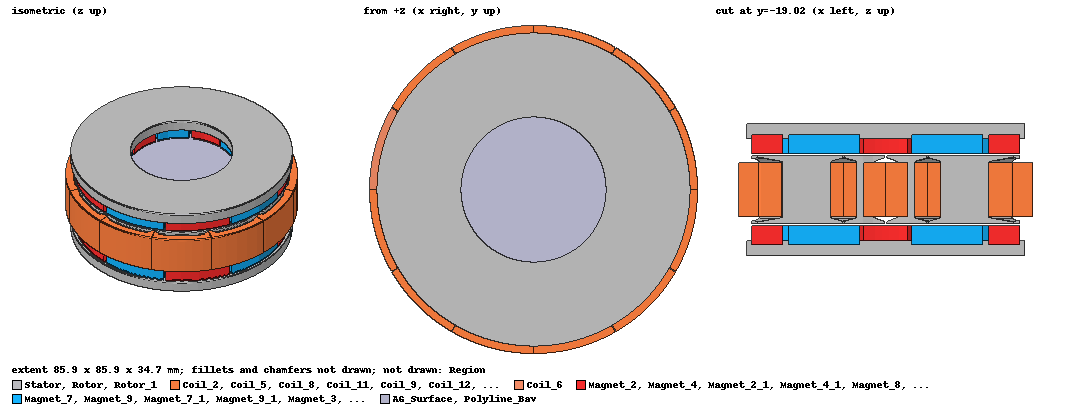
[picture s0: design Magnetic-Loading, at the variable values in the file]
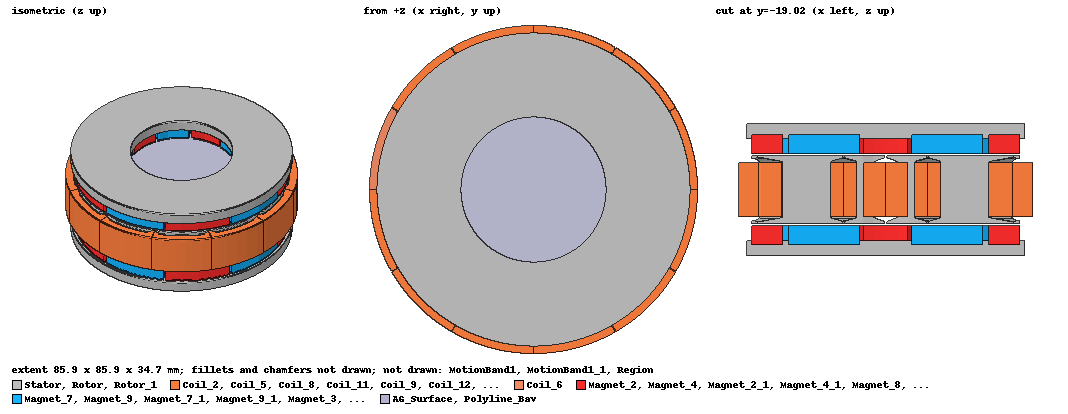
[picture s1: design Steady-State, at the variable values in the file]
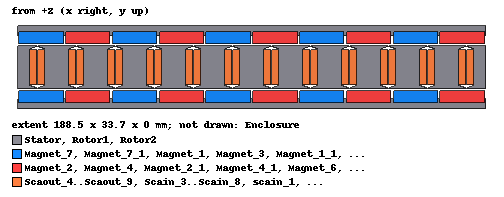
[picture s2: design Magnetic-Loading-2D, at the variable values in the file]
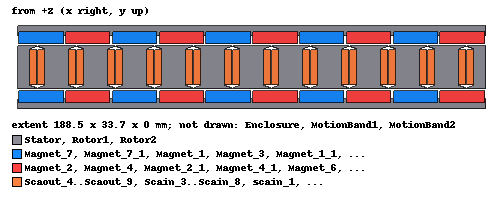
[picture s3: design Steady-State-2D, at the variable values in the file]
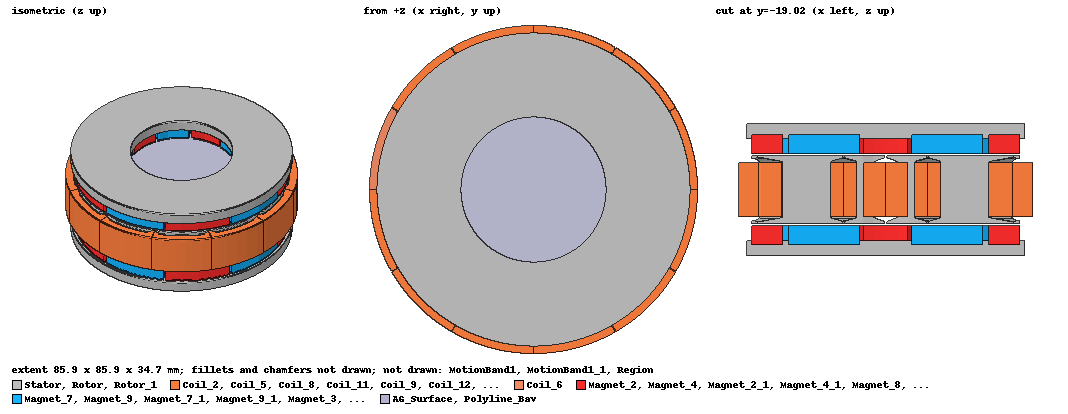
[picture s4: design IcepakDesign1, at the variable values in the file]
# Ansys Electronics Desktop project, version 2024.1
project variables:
  $OSD = 80mm
  $Laxials = 17.7mm
  $ISD = 40mm
  $wss = 6.1mm
  $hs0 = 0.5mm
  $bs0 = 0.5mm
  $tta = 20deg
  $hs1 = $hs0+($wss-$bs0)*tan($tta)/2
  $paperT = 0.13mm
  $bw0 = 0.2mm
  $wc = ($wss-2*$paperT-$bw0)/2
  $Ns = 12
  $alpha_s = 360deg/$Ns
  $dc = $Laxials-2*$hs1-2*$paperT
  $g = 0.5mm
  $p = 10
  $alpha_p = 360deg/$p
  $bm0 = 1mm
  $dm = 5mm
  $t = 1mm
  $ORD = $OSD+2*$t
  $IRD = $ISD-2*$t
  $dm0 = 1mm
  $dry = 3mm
  $PaddingSize = 30
  $Lstk = ($OSD-$ISD)/2
  $D = ($ISD+$OSD)/2
  $L_axial = $Laxials+2*($g+$dm+$dry)
  $Ntc = 250
  $wst = (pi*$D-$ns*$wss)/$ns
  $wm = (pi*$D-$p*$bm0)/$p
  $Iph_rms = 1.04A
  $wireDiameter = 0.4mm
  $wireArea = pi*$wireDiameter^2 /4
  $Nstrands = 1
  $K_fill = $Ntc*$Nstrands*$wireArea/($wc*$dc)
  $dss = $Laxials-2*$hs1
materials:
  vacuum: permittivity=1 thermal_conductivity=0.03
  copper: permeability=0.999991 conductivity=58000000 thermal_conductivity=400 mass_density=8933 specific_heat=385 youngs_modulus=120000000000 poissons_ratio=0.38 thermal_expansion_coefficient=1.77e-05
  SolderMask: permittivity=3.1 dielectric_loss_tangent=0.035 thermal_conductivity=0.26 mass_density=1570 specific_heat=1140 thermal_expansion_coefficient=6e-05
  Hoganas - Somaloy 130-1P: CoordinateSystemType=Cylindrical permeability{HUnit=A_per_meter BUnit=tesla curve (0, 0) (138, 0.04) (244, 0.07) (446, 0.15) (626, 0.22) (1212, 0.45) (1808, 0.62) (2573, 0.8) (3671, 0.98) (5514, 1.16) (8959, 1.34) (15579, 1.53) (29120, 1.73) (49706, 1.88) (74706, 1.98) (99706, 2.05) (124706, 2.11) (149706, 2.16) (189706, 2.23) (229706, 2.3) (279706, 2.38) (304706, 2.42) (383600, 2.5407) (482920, 2.6826) (607960, 2.8533) (765380, 3.0619) (963560, 3.3195) (1213100, 3.6399) (1527200, 4.04) (1922600, 4.5411)} thermal_conductivity=30 thermal_material_type=Solid
  NdFe35: permittivity=1 permeability=1.0997785 conductivity=625000 magnetic_coercivity{Magnitude=-890000A_per_meter DirComp1=1 DirComp2=0 DirComp3=0} thermal_conductivity=9 lande_g_factor=2 mass_density=7400 youngs_modulus=147000000000 thermal_expansion_coefficient{anisotropic component1=3e-06 component2=-5e-06 component3=-5e-06}
  Hoganas - Somaloy 130-1P - 2D: permeability{HUnit=A_per_meter BUnit=tesla curve (0, 0) (138, 0.04) (244, 0.07) (446, 0.15) (626, 0.22) (1212, 0.45) (1808, 0.62) (2573, 0.8) (3671, 0.98) (5514, 1.16) (8959, 1.34) (15579, 1.53) (29120, 1.73) (49706, 1.88) (74706, 1.98) (99706, 2.05) (124706, 2.11) (149706, 2.16) (189706, 2.23) (229706, 2.3) (279706, 2.38) (304706, 2.42) (383600, 2.5407) (482920, 2.6826) (607960, 2.8533) (765380, 3.0619) (963560, 3.3195) (1213100, 3.6399) (1527200, 4.04) (1922600, 4.5411)} thermal_material_type=Solid
  Al-Extruded: thermal_conductivity=205 mass_density=2800 specific_heat=900 youngs_modulus=69000000000 poissons_ratio=0.33 thermal_expansion_coefficient=2.277e-06 thermal_material_type=Solid
  air: permittivity=1.0006 permeability=1.0000004 thermal_conductivity=0.0261 mass_density=1.1614 specific_heat=1005 thermal_expansion_coefficient=0.00333 thermal_material_type=Fluid diffusivity=2.88e-05 molecular_mass=0.028966 viscosity=1.84e-05 material_refractive_index=1.000293
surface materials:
  Steel-oxidised-surface: surface_emissivity=0.8

design Magnetic-Loading (Maxwell 3D, Magnetostatic, model units mm)
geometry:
  Circle1 = circle(normal=Z, centre=(0mm, 0mm, 0mm), radius=$OSD/2+$paperT+$wc)
  Circle2 = circle(normal=Z, centre=(0mm, 0mm, 0mm), radius=$OSD/2+$paperT)
  Circle1.subtract(Circle2)
  Circle3 = circle(normal=Z, centre=(0mm, 0mm, 0mm), radius=$ISD/2-$paperT)
  Circle4 = circle(normal=Z, centre=(0mm, 0mm, 0mm), radius=$ISD/2-$paperT-$wc)
  Circle3.subtract(Circle4)
  Polyline2 = polyline(z=0mm, xy: (0mm, 0mm) ($OSD, 0mm) (79.315589mm, 10.442095mm) (77.274066mm, 20.705524mm) (0mm, 0mm), closed, covered, AngularArc from point 1 over 3 centre=(0mm, 0mm, 0mm) angle=$alpha_s/2 plane=XY)
  Polyline2_1 = Polyline2.duplicate_mirror(point=(0mm, 0mm, 0mm), normal=(0mm, 1mm, 0mm))
  Polyline2_1.mirror(point=(0mm, 0mm, 0mm), normal=(0mm, 1mm, 0mm))
  Polyline2.intersect(Circle1)
  Circle3.intersect(Polyline2_1)
  Coil_1 [copper] = rectangle(corner=(0mm, 0mm, 0mm), x_size=$OSD, y_size=$wc+$bw0/2)
  Circle5 = circle(normal=Z, centre=(0mm, 0mm, 0mm), radius=$ISD/2-$paperT-$wc)
  Circle6 = circle(normal=Z, centre=(0mm, 0mm, 0mm), radius=$OSD/2+$paperT+$wc)
  Coil_1.intersect(Circle6)
  Coil_1.subtract(Circle5)
  Coil_1.unite(Polyline2, Circle3)
  Rectangle2 = rectangle(corner=(0mm, -$bw0/2, 0mm), x_size=$OSD, y_size=$bw0)
  Coil_1.subtract(Rectangle2)
  Coil_1.move(0mm, 0mm, $hs1+$paperT)
  Coil_1.sweep_along_vector((0mm, 0mm, $dc))
  Coil_1.fillet(Edges=Coil_1.edge(#2007, #2006) Radius=$wc/2 Setback=0mm)
  Rectangle1_1 = Coil_1.duplicate_mirror(point=(0mm, 0mm, 0mm), normal=(-sin($alpha_s/2), cos($alpha_s/2), 0mm))
  Coil_1.unite(Rectangle1_1)
  Coil_2..Coil_12 [copper] = Coil_1.duplicate_around_axis(axis=Z, angle=360deg/12, total=12)
  coordinate_system RelativeCS1 = origin=(0mm, 0mm, $Laxials+$g) x=(1mm, 0mm, 0mm) y=(0mm, 1mm, 0mm)
  coordinate_system North_CS = origin=(0mm, 0mm, 0mm) x=(0mm, 0mm, 1mm) y=(0mm, 1mm, 0mm)
  Magnet_1 [NdFe35, oriented by North_CS] = polyline(z=0mm, xy: (0mm, 0mm) ($OSD/2, 0mm) (38.042261mm, 12.36068mm) (32.36068mm, 23.51141mm) (0mm, 0mm), closed, covered, AngularArc from point 1 over 3 centre=(0mm, 0mm, 0mm) angle=$alpha_p plane=XY) in RelativeCS1
  Circle7 = circle(normal=Z, centre=(0mm, 0mm, 0mm), radius=$ISD/2) in RelativeCS1
  Magnet_1.subtract(Circle7)
  Rectangle3 = rectangle(corner=(0mm, -$bm0/2, 0mm), x_size=$OSD, y_size=$bm0) in RelativeCS1
  Rectangle3.duplicate_around_axis(axis=Z, angle=$alpha_p, total=2, attached) in RelativeCS1
  Magnet_1.subtract(Rectangle3)
  Magnet_1.sweep_along_vector((0mm, 0mm, $dm)) in RelativeCS1
  Magnet_2 [NdFe35, oriented by South_CS], Magnet_3 [NdFe35, oriented by North_CS], Magnet_4 [NdFe35, oriented by South_CS], Magnet_5 [NdFe35, oriented by North_CS], Magnet_6 [NdFe35, oriented by South_CS], Magnet_7 [NdFe35, oriented by North_CS], Magnet_8 [NdFe35, oriented by South_CS], Magnet_9 [NdFe35, oriented by North_CS], Magnet_10 [NdFe35, oriented by South_CS] = Magnet_1.duplicate_around_axis(axis=Z, angle=$alpha_p, total=10) in RelativeCS1
  coordinate_system South_CS = origin=(0mm, 0mm, 0mm) x=(0mm, 0mm, -1mm) y=(0mm, 1mm, 0mm)
  Circle8 = circle(normal=Z, centre=(0mm, 0mm, $dm-$dm0), radius=$IRD/2) in RelativeCS1
  Rotor [Hoganas - Somaloy 130-1P] = circle(normal=Z, centre=(0mm, 0mm, $dm-$dm0), radius=$ORD/2) in RelativeCS1
  Rotor.subtract(Circle8)
  Rotor.sweep_along_vector((0mm, 0mm, $dm0+$dry)) in RelativeCS1
  Magnet_1_1 [NdFe35, oriented by North_CS] = Magnet_1.duplicate_mirror(point=(0mm, 0mm, $Laxials/2), normal=(0mm, 0mm, 1mm))
  Magnet_2_1 [NdFe35, oriented by South_CS] = Magnet_2.duplicate_mirror(point=(0mm, 0mm, $Laxials/2), normal=(0mm, 0mm, 1mm))
  Magnet_3_1 [NdFe35, oriented by North_CS] = Magnet_3.duplicate_mirror(point=(0mm, 0mm, $Laxials/2), normal=(0mm, 0mm, 1mm))
  Magnet_4_1 [NdFe35, oriented by South_CS] = Magnet_4.duplicate_mirror(point=(0mm, 0mm, $Laxials/2), normal=(0mm, 0mm, 1mm))
  Magnet_5_1 [NdFe35, oriented by North_CS] = Magnet_5.duplicate_mirror(point=(0mm, 0mm, $Laxials/2), normal=(0mm, 0mm, 1mm))
  Magnet_6_1 [NdFe35, oriented by South_CS] = Magnet_6.duplicate_mirror(point=(0mm, 0mm, $Laxials/2), normal=(0mm, 0mm, 1mm))
  Magnet_7_1 [NdFe35, oriented by North_CS] = Magnet_7.duplicate_mirror(point=(0mm, 0mm, $Laxials/2), normal=(0mm, 0mm, 1mm))
  Magnet_8_1 [NdFe35, oriented by South_CS] = Magnet_8.duplicate_mirror(point=(0mm, 0mm, $Laxials/2), normal=(0mm, 0mm, 1mm))
  Magnet_9_1 [NdFe35, oriented by North_CS] = Magnet_9.duplicate_mirror(point=(0mm, 0mm, $Laxials/2), normal=(0mm, 0mm, 1mm))
  Magnet_10_1 [NdFe35, oriented by South_CS] = Magnet_10.duplicate_mirror(point=(0mm, 0mm, $Laxials/2), normal=(0mm, 0mm, 1mm))
  Rotor_1 [Hoganas - Somaloy 130-1P] = Rotor.duplicate_mirror(point=(0mm, 0mm, $Laxials/2), normal=(0mm, 0mm, 1mm))
  Magnet_1_2 = Magnet_1.copy()
  Magnet_10_2 = Magnet_10.copy()
  Magnet_2_2 = Magnet_2.copy()
  Magnet_3_2 = Magnet_3.copy()
  Magnet_4_2 = Magnet_4.copy()
  Magnet_5_2 = Magnet_5.copy()
  Magnet_6_2 = Magnet_6.copy()
  Magnet_7_2 = Magnet_7.copy()
  Magnet_8_2 = Magnet_8.copy()
  Magnet_9_2 = Magnet_9.copy()
  Rotor.subtract(Magnet_1_2, Magnet_10_2, Magnet_2_2, Magnet_3_2, Magnet_4_2, Magnet_5_2, Magnet_6_2, Magnet_7_2, Magnet_8_2, Magnet_9_2)
  Magnet_1_1_1 = Magnet_1_1.copy()
  Magnet_10_1_1 = Magnet_10_1.copy()
  Magnet_2_1_1 = Magnet_2_1.copy()
  Magnet_3_1_1 = Magnet_3_1.copy()
  Magnet_4_1_1 = Magnet_4_1.copy()
  Magnet_5_1_1 = Magnet_5_1.copy()
  Magnet_6_1_1 = Magnet_6_1.copy()
  Magnet_7_1_1 = Magnet_7_1.copy()
  Magnet_8_1_1 = Magnet_8_1.copy()
  Magnet_9_1_1 = Magnet_9_1.copy()
  Rotor_1.subtract(Magnet_1_1_1, Magnet_10_1_1, Magnet_2_1_1, Magnet_3_1_1, Magnet_4_1_1, Magnet_5_1_1, Magnet_6_1_1, Magnet_7_1_1, Magnet_8_1_1, Magnet_9_1_1)
  Region [vacuum] = region(percentage_offset: +X=$PaddingSize, -X=$PaddingSize, +Y=$PaddingSize, -Y=$PaddingSize, +Z=2*$PaddingSize, -Z=2*$PaddingSize) in South_CS
  Circle9 = circle(normal=Z, centre=(0mm, 0mm, -$g/2), radius=$ISD/2) in RelativeCS1
  AG_Surface = circle(normal=Z, centre=(0mm, 0mm, -$g/2), radius=$OSD/2) in RelativeCS1
  AG_Surface.subtract(Circle9)
  AG_Surface_1 = AG_Surface.duplicate_mirror(point=(0mm, 0mm, $Laxials/2), normal=(0mm, 0mm, 1mm))
  CCS_Surface [vacuum, non-model] = circle(normal=Z, centre=(0mm, 0mm, -10mm), radius=$D/2)
  CCS_Surface.sweep_along_vector((0mm, 0mm, $L_axial+10mm))
  Polyline_Bav = circle(normal=Z, centre=(0mm, 0mm, -$g/2), radius=$D/2) in RelativeCS1
  Polyline_Bry [non-model] = circle(normal=Z, centre=(0mm, 0mm, $dm+$dry/2), radius=$D/2) in RelativeCS1
  Polyline_Bst = polyline(($D/2, 0mm, $hs1) ($D/2, 0mm, $Laxials-$hs1))
  Polyline_Bst.rotate(axis=Z, angle=180deg/12)
  Polyline_Bst_1..Polyline_Bst_11 = Polyline_Bst.duplicate_around_axis(axis=Z, angle=360deg/12, total=12)
  Stator [Hoganas - Somaloy 130-1P] = cylinder(axis=Z, base_centre=(0mm, 0mm, 0mm), radius=$OSD/2, height=$dss+2*$hs1)
  Cylinder2 = cylinder(axis=Z, base_centre=(0mm, 0mm, -10mm), radius=$ISD/2, height=$dss+2*$hs1+20mm)
  Stator.subtract(Cylinder2)
  Polyline3 = polyline(x=0mm, yz: (0mm, $hs1+$dss/2) ($wss/2, $hs1+$dss/2) ($wss/2, $hs1+$dss) ($bs0/2, $hs1+$dss+$hs1-$hs0) ($bs0/2, 2*$hs1+$dss + 10mm) (0mm, 2*$hs1+$dss + 10mm) (0mm, $hs1+$dss/2), closed, covered)
  Polyline3_1 = Polyline3.duplicate_mirror(point=(0mm, 0mm, 0mm), normal=(0mm, 1mm, 0mm))
  Polyline3.unite(Polyline3_1)
  Polyline3_2 = Polyline3.duplicate_mirror(point=(0mm, -3.05mm, 8.85mm), normal=(0mm, 0mm, 1mm))
  Polyline3.unite(Polyline3_2)
  Polyline3.sweep_along_vector((50mm, 0mm, 0mm))
  Polyline3.duplicate_around_axis(axis=Z, angle=360deg/12, total=12, attached)
  Stator.subtract(Polyline3)
  group Polyline_Bst_Group = Polyline_Bst, Polyline_Bst_1..Polyline_Bst_11
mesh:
  Length1: LengthBased RefineInside disabled Objects=[Coil_1..Coil_12] MaxLength=$dc/3
  Length2: LengthBased RefineInside disabled Objects=[Rotor, Rotor_1] MaxLength=$Lstk/5
  Length3: LengthBased RefineInside disabled Objects=[Magnet_1, Magnet_1_1, Magnet_2, Magnet_2_1, Magnet_3, Magnet_3_1, Magnet_4, Magnet_4_1, Magnet_5, Magnet_5_1, Magnet_6, Magnet_6_1, Magnet_7, Magnet_7_1, Magnet_8, Magnet_8_1, Magnet_9, Magnet_9_1, Magnet_10, Magnet_10_1] MaxLength=$Lstk/8
  AG_Surface: LengthBased RefineInside Objects=[AG_Surface, AG_Surface_1] MaxLength=$Lstk/10
  initial mesh: GlobalCurvilinear{Apply}
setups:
  magnetic_loading: Magnetostatic MaximumPasses=3 MinimumPasses=2 MinimumConvergedPasses=1 PercentRefinement=30 PercentError=1 NonLinearResidual=0.001
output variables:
  Bav = phi_tot/Area(AG_Surface)
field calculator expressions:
  abs_Bz = Fundamental_Quantity(22) | ScalarZ | Abs
  phi_tot = abs_Bz | EnterSurface(AG_Surface) | SurfaceValue | Integrate
  Bz = Fundamental_Quantity(22) | ScalarZ
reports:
  magnetic_loading: phi_tot, Bav vs $OSD on magnetic_loading : LastAdaptive
  flux-density-waveform: Bz vs Distance on magnetic_loading : LastAdaptive
  yoke_Bmag: Mag_B vs Distance on magnetic_loading : LastAdaptive

design Steady-State (Maxwell 3D, Transient, model units mm)
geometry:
  Circle1 = circle(normal=Z, centre=(0mm, 0mm, 0mm), radius=$OSD/2+$paperT+$wc)
  Circle2 = circle(normal=Z, centre=(0mm, 0mm, 0mm), radius=$OSD/2+$paperT)
  Circle1.subtract(Circle2)
  Circle3 = circle(normal=Z, centre=(0mm, 0mm, 0mm), radius=$ISD/2-$paperT)
  Circle4 = circle(normal=Z, centre=(0mm, 0mm, 0mm), radius=$ISD/2-$paperT-$wc)
  Circle3.subtract(Circle4)
  Polyline2 = polyline(z=0mm, xy: (0mm, 0mm) ($OSD, 0mm) (79.315589mm, 10.442095mm) (77.274066mm, 20.705524mm) (0mm, 0mm), closed, covered, AngularArc from point 1 over 3 centre=(0mm, 0mm, 0mm) angle=$alpha_s/2 plane=XY)
  Polyline2_1 = Polyline2.duplicate_mirror(point=(0mm, 0mm, 0mm), normal=(0mm, 1mm, 0mm))
  Polyline2_1.mirror(point=(0mm, 0mm, 0mm), normal=(0mm, 1mm, 0mm))
  Polyline2.intersect(Circle1)
  Circle3.intersect(Polyline2_1)
  Coil_1 [copper] = rectangle(corner=(0mm, 0mm, 0mm), x_size=$OSD, y_size=$wc+$bw0/2)
  Circle5 = circle(normal=Z, centre=(0mm, 0mm, 0mm), radius=$ISD/2-$paperT-$wc)
  Circle6 = circle(normal=Z, centre=(0mm, 0mm, 0mm), radius=$OSD/2+$paperT+$wc)
  Coil_1.intersect(Circle6)
  Coil_1.subtract(Circle5)
  Coil_1.unite(Polyline2, Circle3)
  Rectangle2 = rectangle(corner=(0mm, -$bw0/2, 0mm), x_size=$OSD, y_size=$bw0)
  Coil_1.subtract(Rectangle2)
  Coil_1.move(0mm, 0mm, $hs1+$paperT)
  Coil_1.sweep_along_vector((0mm, 0mm, $dc))
  Coil_1.fillet(Edges=Coil_1.edge(#2007, #2006) Radius=$wc/2 Setback=0mm)
  Rectangle1_1 = Coil_1.duplicate_mirror(point=(0mm, 0mm, 0mm), normal=(-sin($alpha_s/2), cos($alpha_s/2), 0mm))
  Coil_1.unite(Rectangle1_1)
  Coil_2..Coil_12 [copper] = Coil_1.duplicate_around_axis(axis=Z, angle=360deg/12, total=12)
  coordinate_system RelativeCS1 = origin=(0mm, 0mm, $Laxials+$g) x=(1mm, 0mm, 0mm) y=(0mm, 1mm, 0mm)
  coordinate_system North_CS = origin=(0mm, 0mm, 0mm) x=(0mm, 0mm, 1mm) y=(0mm, 1mm, 0mm)
  Magnet_1 [NdFe35, oriented by North_CS] = polyline(z=0mm, xy: (0mm, 0mm) ($OSD/2, 0mm) (38.042261mm, 12.36068mm) (32.36068mm, 23.51141mm) (0mm, 0mm), closed, covered, AngularArc from point 1 over 3 centre=(0mm, 0mm, 0mm) angle=$alpha_p plane=XY) in RelativeCS1
  Circle7 = circle(normal=Z, centre=(0mm, 0mm, 0mm), radius=$ISD/2) in RelativeCS1
  Magnet_1.subtract(Circle7)
  Rectangle3 = rectangle(corner=(0mm, -$bm0/2, 0mm), x_size=$OSD, y_size=$bm0) in RelativeCS1
  Rectangle3.duplicate_around_axis(axis=Z, angle=$alpha_p, total=2, attached) in RelativeCS1
  Magnet_1.subtract(Rectangle3)
  Magnet_1.sweep_along_vector((0mm, 0mm, $dm)) in RelativeCS1
  Magnet_2 [NdFe35, oriented by South_CS], Magnet_3 [NdFe35, oriented by North_CS], Magnet_4 [NdFe35, oriented by South_CS], Magnet_5 [NdFe35, oriented by North_CS], Magnet_6 [NdFe35, oriented by South_CS], Magnet_7 [NdFe35, oriented by North_CS], Magnet_8 [NdFe35, oriented by South_CS], Magnet_9 [NdFe35, oriented by North_CS], Magnet_10 [NdFe35, oriented by South_CS] = Magnet_1.duplicate_around_axis(axis=Z, angle=$alpha_p, total=10) in RelativeCS1
  coordinate_system South_CS = origin=(0mm, 0mm, 0mm) x=(0mm, 0mm, -1mm) y=(0mm, 1mm, 0mm)
  Circle8 = circle(normal=Z, centre=(0mm, 0mm, $dm-$dm0), radius=$IRD/2) in RelativeCS1
  Rotor [Hoganas - Somaloy 130-1P] = circle(normal=Z, centre=(0mm, 0mm, $dm-$dm0), radius=$ORD/2) in RelativeCS1
  Rotor.subtract(Circle8)
  Rotor.sweep_along_vector((0mm, 0mm, $dm0+$dry)) in RelativeCS1
  Magnet_1_1 [NdFe35, oriented by North_CS] = Magnet_1.duplicate_mirror(point=(0mm, 0mm, $Laxials/2), normal=(0mm, 0mm, 1mm))
  Magnet_2_1 [NdFe35, oriented by South_CS] = Magnet_2.duplicate_mirror(point=(0mm, 0mm, $Laxials/2), normal=(0mm, 0mm, 1mm))
  Magnet_3_1 [NdFe35, oriented by North_CS] = Magnet_3.duplicate_mirror(point=(0mm, 0mm, $Laxials/2), normal=(0mm, 0mm, 1mm))
  Magnet_4_1 [NdFe35, oriented by South_CS] = Magnet_4.duplicate_mirror(point=(0mm, 0mm, $Laxials/2), normal=(0mm, 0mm, 1mm))
  Magnet_5_1 [NdFe35, oriented by North_CS] = Magnet_5.duplicate_mirror(point=(0mm, 0mm, $Laxials/2), normal=(0mm, 0mm, 1mm))
  Magnet_6_1 [NdFe35, oriented by South_CS] = Magnet_6.duplicate_mirror(point=(0mm, 0mm, $Laxials/2), normal=(0mm, 0mm, 1mm))
  Magnet_7_1 [NdFe35, oriented by North_CS] = Magnet_7.duplicate_mirror(point=(0mm, 0mm, $Laxials/2), normal=(0mm, 0mm, 1mm))
  Magnet_8_1 [NdFe35, oriented by South_CS] = Magnet_8.duplicate_mirror(point=(0mm, 0mm, $Laxials/2), normal=(0mm, 0mm, 1mm))
  Magnet_9_1 [NdFe35, oriented by North_CS] = Magnet_9.duplicate_mirror(point=(0mm, 0mm, $Laxials/2), normal=(0mm, 0mm, 1mm))
  Magnet_10_1 [NdFe35, oriented by South_CS] = Magnet_10.duplicate_mirror(point=(0mm, 0mm, $Laxials/2), normal=(0mm, 0mm, 1mm))
  Rotor_1 [Hoganas - Somaloy 130-1P] = Rotor.duplicate_mirror(point=(0mm, 0mm, $Laxials/2), normal=(0mm, 0mm, 1mm))
  Magnet_1_2 = Magnet_1.copy()
  Magnet_10_2 = Magnet_10.copy()
  Magnet_2_2 = Magnet_2.copy()
  Magnet_3_2 = Magnet_3.copy()
  Magnet_4_2 = Magnet_4.copy()
  Magnet_5_2 = Magnet_5.copy()
  Magnet_6_2 = Magnet_6.copy()
  Magnet_7_2 = Magnet_7.copy()
  Magnet_8_2 = Magnet_8.copy()
  Magnet_9_2 = Magnet_9.copy()
  Rotor.subtract(Magnet_1_2, Magnet_10_2, Magnet_2_2, Magnet_3_2, Magnet_4_2, Magnet_5_2, Magnet_6_2, Magnet_7_2, Magnet_8_2, Magnet_9_2)
  Magnet_1_1_1 = Magnet_1_1.copy()
  Magnet_10_1_1 = Magnet_10_1.copy()
  Magnet_2_1_1 = Magnet_2_1.copy()
  Magnet_3_1_1 = Magnet_3_1.copy()
  Magnet_4_1_1 = Magnet_4_1.copy()
  Magnet_5_1_1 = Magnet_5_1.copy()
  Magnet_6_1_1 = Magnet_6_1.copy()
  Magnet_7_1_1 = Magnet_7_1.copy()
  Magnet_8_1_1 = Magnet_8_1.copy()
  Magnet_9_1_1 = Magnet_9_1.copy()
  Rotor_1.subtract(Magnet_1_1_1, Magnet_10_1_1, Magnet_2_1_1, Magnet_3_1_1, Magnet_4_1_1, Magnet_5_1_1, Magnet_6_1_1, Magnet_7_1_1, Magnet_8_1_1, Magnet_9_1_1)
  Region [vacuum] = region(percentage_offset: +X=$PaddingSize, -X=$PaddingSize, +Y=$PaddingSize, -Y=$PaddingSize, +Z=2*$PaddingSize, -Z=2*$PaddingSize) in South_CS
  Circle9 = circle(normal=Z, centre=(0mm, 0mm, -$g/2), radius=$ISD/2) in RelativeCS1
  AG_Surface = circle(normal=Z, centre=(0mm, 0mm, -$g/2), radius=$OSD/2) in RelativeCS1
  AG_Surface.subtract(Circle9)
  AG_Surface_1 = AG_Surface.duplicate_mirror(point=(0mm, 0mm, $Laxials/2), normal=(0mm, 0mm, 1mm))
  CCS_Surface [vacuum, non-model] = circle(normal=Z, centre=(0mm, 0mm, -10mm), radius=$D/2)
  CCS_Surface.sweep_along_vector((0mm, 0mm, $L_axial+5mm))
  Polyline_Bav = circle(normal=Z, centre=(0mm, 0mm, -$g/2), radius=$D/2) in RelativeCS1
  Polyline_Bry [non-model] = circle(normal=Z, centre=(0mm, 0mm, $dm+$dry/2), radius=$D/2) in RelativeCS1
  Polyline_Bst = polyline(($D/2, 0mm, $hs1) ($D/2, 0mm, $Laxials-$hs1))
  Polyline_Bst.rotate(axis=Z, angle=180deg/12)
  Polyline_Bst_1..Polyline_Bst_11 = Polyline_Bst.duplicate_around_axis(axis=Z, angle=360deg/12, total=12)
  coordinate_system RelativeCS2 = origin=(0mm, 0mm, 0mm) x=(cos($alpha_s/2), sin($alpha_s/2), 0mm) y=(-sin($alpha_s/2), cos($alpha_s/2), 0mm)
  CoilInput_1 [copper] = Coil_1.section(plane=ZX) in RelativeCS2
  CoilInput_1.separate_bodies()
  CoilInput_2..CoilInput_12 [copper] = CoilInput_1.duplicate_around_axis(axis=Z, angle=360deg/12, total=12)
  MotionBand1 [vacuum] = cylinder(axis=Z, base_centre=(0mm, 0mm, -$g/2), radius=$OSD/2 + 10mm, height=$g+$dm+$dry+5mm) in RelativeCS1
  Stator [Hoganas - Somaloy 130-1P] = cylinder(axis=Z, base_centre=(0mm, 0mm, 0mm), radius=$OSD/2, height=$dss+2*$hs1) in RelativeCS1
  Cylinder2 = cylinder(axis=Z, base_centre=(0mm, 0mm, -10mm), radius=$ISD/2, height=$dss+2*$hs1+20mm) in RelativeCS1
  Stator.subtract(Cylinder2)
  Polyline3 = polyline(x=0mm, yz: (0mm, $hs1+$dss/2) ($wss/2, $hs1+$dss/2) ($wss/2, $hs1+$dss) ($bs0/2, $hs1+$dss+$hs1-$hs0) ($bs0/2, 2*$hs1+$dss + 10mm) (0mm, 2*$hs1+$dss + 10mm) (0mm, $hs1+$dss/2), closed, covered) in RelativeCS1
  Polyline3_1 = Polyline3.duplicate_mirror(point=(0mm, 0mm, 0mm), normal=(0mm, 1mm, 0mm)) in RelativeCS1
  Polyline3.unite(Polyline3_1)
  Polyline3_2 = Polyline3.duplicate_mirror(point=(0mm, -3.05mm, 8.85mm), normal=(0mm, 0mm, 1mm)) in RelativeCS1
  Polyline3.unite(Polyline3_2)
  Polyline3.sweep_along_vector((50mm, 0mm, 0mm)) in RelativeCS1
  Polyline3.duplicate_around_axis(axis=Z, angle=360deg/12, total=12, attached) in RelativeCS1
  Stator.subtract(Polyline3)
  Stator.move(0mm, 0mm, -($Laxials+$g)) in RelativeCS1
  MotionBand1_1 [vacuum] = MotionBand1.duplicate_mirror(point=(0mm, 0mm, $Laxials/2), normal=(0mm, 0mm, -1mm))
  group Polyline_Bst_Group = Polyline_Bst, Polyline_Bst_1..Polyline_Bst_11
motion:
  MotionSetup1: Band Move_Type=Rotate Coordinate_System=Global Axis=Z Is_Positive=true InitPos=0deg Angular_Velocity=65rpm Objects=MotionBand1
  Moving1: Moving Objects=[Magnet_10, Magnet_9, Magnet_7, Magnet_8, Magnet_6, Magnet_1..Magnet_5, Rotor, AG_Surface]
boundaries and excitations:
  CoilInput_1: Coil Terminal Objects=CoilInput_1 Conductor_number=$Ntc Winding=PhaseA Point_out_of_terminal=false
  CoilInput_2: Coil Terminal Objects=CoilInput_2 Conductor_number=$Ntc Winding=PhaseA Point_out_of_terminal=true
  CoilInput_3: Coil Terminal Objects=CoilInput_3 Conductor_number=$Ntc Winding=PhaseB Point_out_of_terminal=true
  CoilInput_4: Coil Terminal Objects=CoilInput_4 Conductor_number=$Ntc Winding=PhaseB Point_out_of_terminal=false
  CoilInput_5: Coil Terminal Objects=CoilInput_5 Conductor_number=$Ntc Winding=PhaseC Point_out_of_terminal=false
  CoilInput_6: Coil Terminal Objects=CoilInput_6 Conductor_number=$Ntc Winding=PhaseC Point_out_of_terminal=true
  CoilInput_7: Coil Terminal Objects=CoilInput_7 Conductor_number=$Ntc Winding=PhaseA Point_out_of_terminal=true
  CoilInput_8: Coil Terminal Objects=CoilInput_8 Conductor_number=$Ntc Winding=PhaseA Point_out_of_terminal=false
  CoilInput_9: Coil Terminal Objects=CoilInput_9 Conductor_number=$Ntc Winding=PhaseB Point_out_of_terminal=false
  CoilInput_10: Coil Terminal Objects=CoilInput_10 Conductor_number=$Ntc Winding=PhaseB Point_out_of_terminal=true
  CoilInput_11: Coil Terminal Objects=CoilInput_11 Conductor_number=$Ntc Winding=PhaseC Point_out_of_terminal=true
  CoilInput_12: Coil Terminal Objects=CoilInput_12 Conductor_number=$Ntc Winding=PhaseC Point_out_of_terminal=false
  PhaseA: Winding Group Type=Current IsSolid=false Current=0mA ParallelBranchesNum=1
  PhaseB: Winding Group Type=Current IsSolid=false Current=0mA ParallelBranchesNum=1
  PhaseC: Winding Group Type=Current IsSolid=false Current=0mA ParallelBranchesNum=1
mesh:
  Length1: LengthBased RefineInside disabled Objects=[Coil_1..Coil_12] MaxLength=$dc/3
  Length2: LengthBased RefineInside disabled Objects=[Rotor, Rotor_1] MaxLength=$Lstk/5
  Length3: LengthBased RefineInside disabled Objects=[Magnet_1, Magnet_1_1, Magnet_2, Magnet_2_1, Magnet_3, Magnet_3_1, Magnet_4, Magnet_4_1, Magnet_5, Magnet_5_1, Magnet_6, Magnet_6_1, Magnet_7, Magnet_7_1, Magnet_8, Magnet_8_1, Magnet_9, Magnet_9_1, Magnet_10, Magnet_10_1] MaxLength=$Lstk/8
  AG_Surface: LengthBased RefineInside Objects=[AG_Surface, AG_Surface_1] MaxLength=$Lstk/10
  CylindricalGap1: CylindricalGap Objects=MotionBand1 BandMappingAngle=3deg MovingSideLayers=1 StaticSideLayers=1 Objects=MotionBand1
  initial mesh: GlobalCurvilinear{Apply}
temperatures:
  Coil_1..Coil_12, Magnet_1..Magnet_10, Rotor, Magnet_1_1, Magnet_2_1, Magnet_3_1, Magnet_4_1, Magnet_5_1, Magnet_6_1, Magnet_7_1, Magnet_8_1, Magnet_9_1, Magnet_10_1, Rotor_1, Region, AG_Surface, AG_Surface_1, Polyline_Bav, Polyline_Bst, Polyline_Bst_1..Polyline_Bst_11, CoilInput_1..CoilInput_12, MotionBand1, Stator, Cylinder2, Polyline3, Polyline3_1, Polyline3_2, MotionBand1_1: 22cel
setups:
  Setup1: Transient NonlinearSolverResidual=0.005 ScalarPotential="Second Order" StopTime=20ms TimeStep=20ms/50
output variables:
  Bav = phi_tot/Area(AG_Surface)
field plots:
  Temperature1: Temperature on Setup1 : Transient at Time=0
  Temperature2: Temperature on Setup1 : Transient at Time=20ms
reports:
  Winding Plot 1: FluxLinkage(PhaseA), FluxLinkage(PhaseB), FluxLinkage(PhaseC) vs Time on Setup1 : Transient

design Magnetic-Loading-2D (Maxwell 2D, Magnetostatic, XY geometry, model units mm)
options: ModelDepth=1meter
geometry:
  Stator [Hoganas - Somaloy 130-1P - 2D] = rectangle(corner=(0mm, 0mm, 0mm), x_size=pi*$D, y_size=$Laxials)
  Polyline1 = polyline(z=0mm, xy: ($wst/2, $Laxials/2) ($wst/2+$wss/2, $Laxials/2) ($wst/2+$wss/2, $Laxials+5mm) ($wst/2+$wss/2-$bs0/2, $Laxials+5mm) ($wst/2+$wss/2-$bs0/2, $Laxials-$hs0) ($wst/2, $Laxials-$hs1) ($wst/2, $Laxials/2), closed, covered)
  Polyline1_1 = Polyline1.duplicate_mirror(point=($wst/2+$wss/2, 0mm, 0mm), normal=(1mm, 0mm, 0mm))
  Polyline1.unite(Polyline1_1)
  Polyline1_2 = Polyline1.duplicate_mirror(point=(0mm, $Laxials/2, 0mm), normal=(0mm, 1mm, 0mm))
  Polyline1.unite(Polyline1_2)
  Polyline1.duplicate_along_line(step=($wst+$wss, 0mm, 0mm), total=12, attached)
  Stator.subtract(Polyline1)
  scain_1 [copper] = rectangle(corner=($wst/2+$paperT, $hs1+$paperT, 0mm), x_size=$wc, y_size=$dc)
  Scaout_2 [copper] = scain_1.duplicate_mirror(point=($wst/2+$wss/2, 0mm, 0mm), normal=(1mm, 0mm, 0mm))
  Scaout_3..Scaout_12, Scaout_1 [copper] = Scaout_2.duplicate_along_line(step=($wss+$wst, 0mm, 0mm), total=12)
  Scain_2..Scain_12 [copper] = scain_1.duplicate_along_line(step=($wss+$wst, 0mm, 0mm), total=12)
  coordinate_system NorthCS = origin=(0mm, 0mm, 0mm) x=(0mm, 90mm, 0mm) y=(-90mm, 0mm, 0mm)
  Magnet_1 [NdFe35, oriented by NorthCS] = rectangle(corner=($bm0/2, $Laxials+$g, 0mm), x_size=$wm, y_size=$dm)
  Magnet_2 [NdFe35, oriented by SouthCS], Magnet_3 [NdFe35, oriented by NorthCS], Magnet_4 [NdFe35, oriented by SouthCS], Magnet_5 [NdFe35, oriented by NorthCS], Magnet_6 [NdFe35, oriented by SouthCS], Magnet_7 [NdFe35, oriented by NorthCS], Magnet_8 [NdFe35, oriented by SouthCS], Magnet_9 [NdFe35, oriented by NorthCS], Magnet_10 [NdFe35, oriented by SouthCS] = Magnet_1.duplicate_along_line(step=($bm0+$wm, 0mm, 0mm), total=10)
  coordinate_system SouthCS = origin=(0mm, 0mm, 0mm) x=(0mm, -20mm, 0mm) y=(20mm, 0mm, 0mm)
  Rotor1 [Hoganas - Somaloy 130-1P] = rectangle(corner=(0mm, $Laxials+$dm-$dm0, 0mm), x_size=pi*$D, y_size=$dm0+$dry)
  Magnet_1_10 = Magnet_1.copy()
  Magnet_1_1_1 = Magnet_2.copy()
  Magnet_1_2_1 = Magnet_3.copy()
  Magnet_1_3_1 = Magnet_4.copy()
  Magnet_1_4_1 = Magnet_5.copy()
  Magnet_1_5_1 = Magnet_6.copy()
  Magnet_1_6_1 = Magnet_7.copy()
  Magnet_1_7_1 = Magnet_8.copy()
  Magnet_1_8_1 = Magnet_9.copy()
  Magnet_1_9_1 = Magnet_10.copy()
  Rotor1.subtract(Magnet_1_10, Magnet_1_1_1, Magnet_1_2_1, Magnet_1_3_1, Magnet_1_4_1, Magnet_1_5_1, Magnet_1_6_1, Magnet_1_7_1, Magnet_1_8_1, Magnet_1_9_1)
  Magnet_1_1 [NdFe35, oriented by NorthCS] = Magnet_1.duplicate_mirror(point=(0mm, $Laxials/2, 0mm), normal=(0mm, -1mm, 0mm))
  Magnet_2_1 [NdFe35, oriented by SouthCS] = Magnet_2.duplicate_mirror(point=(0mm, $Laxials/2, 0mm), normal=(0mm, -1mm, 0mm))
  Magnet_3_1 [NdFe35, oriented by NorthCS] = Magnet_3.duplicate_mirror(point=(0mm, $Laxials/2, 0mm), normal=(0mm, -1mm, 0mm))
  Magnet_4_1 [NdFe35, oriented by SouthCS] = Magnet_4.duplicate_mirror(point=(0mm, $Laxials/2, 0mm), normal=(0mm, -1mm, 0mm))
  Magnet_5_1 [NdFe35, oriented by NorthCS] = Magnet_5.duplicate_mirror(point=(0mm, $Laxials/2, 0mm), normal=(0mm, -1mm, 0mm))
  Magnet_6_1 [NdFe35, oriented by SouthCS] = Magnet_6.duplicate_mirror(point=(0mm, $Laxials/2, 0mm), normal=(0mm, -1mm, 0mm))
  Magnet_7_1 [NdFe35, oriented by NorthCS] = Magnet_7.duplicate_mirror(point=(0mm, $Laxials/2, 0mm), normal=(0mm, -1mm, 0mm))
  Magnet_8_1 [NdFe35, oriented by SouthCS] = Magnet_8.duplicate_mirror(point=(0mm, $Laxials/2, 0mm), normal=(0mm, -1mm, 0mm))
  Magnet_9_1 [NdFe35, oriented by NorthCS] = Magnet_9.duplicate_mirror(point=(0mm, $Laxials/2, 0mm), normal=(0mm, -1mm, 0mm))
  Magnet_10_1 [NdFe35, oriented by SouthCS] = Magnet_10.duplicate_mirror(point=(0mm, $Laxials/2, 0mm), normal=(0mm, -1mm, 0mm))
  Rotor2 [Hoganas - Somaloy 130-1P] = Rotor1.duplicate_mirror(point=(0mm, $Laxials/2, 0mm), normal=(0mm, -1mm, 0mm))
  Enclosure [vacuum] = rectangle(corner=(0mm, -15mm, 0mm), x_size=pi*$D, y_size=$L_axial+20mm)
  Polyline_Bav = polyline((0mm, $Laxials+$g/2, 0mm) (pi*$D, $Laxials+$g/2, 0mm))
  Polyine_Bry = polyline((0mm, $Laxials+$g+$dm+$dry/2, 0mm) (pi*$D, $Laxials+$g+$dm+$dry/2, 0mm))
  Polyline_Bav_1 = Polyline_Bav.duplicate_mirror(point=(0mm, $Laxials/2, 0mm), normal=(0mm, -1mm, 0mm))
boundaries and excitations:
  VectorPotential1: Vector Potential Edges=Enclosure.edge(at (94.2478, -15, 0), at (94.2478, 39.7, 0)) Value=0
  Independent1: Independent Edges=Enclosure.edge(at (0, 12.35, 0)) ReverseV
  Dependent1: Dependent Edges=Enclosure.edge(at (188.496, 12.35, 0)) Independent=Independent1 SameAsMaster=true
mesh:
  Length1: LengthBased RefineInside Objects=[Stator, scain_1, Scaout_2..Scaout_12, Scaout_1, Scain_2..Scain_12, Magnet_1..Magnet_10, Rotor1, Magnet_1_1, Magnet_2_1, Magnet_3_1, Magnet_4_1, Magnet_5_1, Magnet_6_1, Magnet_7_1, Magnet_8_1, Magnet_9_1, Magnet_10_1, Rotor2, Enclosure] MaxLength=3mm
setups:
  Magnetic_Loading: Magnetostatic MaximumPasses=10 MinimumPasses=2 MinimumConvergedPasses=1 PercentRefinement=30 PercentError=1 NonLinearResidual=0.0001
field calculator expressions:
  By = Fundamental_Quantity(22) | ScalarY
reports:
  Flux Density Waveform: By, By vs Distance on Magnetic_Loading : LastAdaptive
  Calculator Expressions Plot 1: Mag_B vs Distance on Magnetic_Loading : LastAdaptive

design Steady-State-2D (Maxwell 2D, Transient, XY geometry, model units mm)
options: ModelDepth=$Lstk
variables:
  rotorRPM = 65rpm
  LinearSpeed = ($D/2meter)*2*pi*(rotorRPM/60rpm) m_per_sec
  Is_pu = 1
  Is = sqrt(2)* $Iph_rms*Is_pu
  advAngle = 90deg
  id_rrf = Is*cos(advAngle)
  iq_rrf = Is*sin(advAngle)
  alpha_D4d = -90deg
  alpha_Is = 2*pi*5.417*time+alpha_D4d
  id_srf = id_rrf*cos(alpha_Is)-iq_rrf*sin(alpha_Is)
  iq_srf = id_rrf*sin(alpha_Is)+iq_rrf*cos(alpha_Is)
  ia_srf = id_srf
  ib_srf = -id_srf/2+sqrt(3)*iq_srf/2
  ic_srf = -id_srf/2-sqrt(3)*iq_srf/2
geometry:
  Stator [Hoganas - Somaloy 130-1P - 2D] = rectangle(corner=(0mm, 0mm, 0mm), x_size=pi*$D, y_size=$Laxials)
  Polyline1 = polyline(z=0mm, xy: ($wst/2, $Laxials/2) ($wst/2+$wss/2, $Laxials/2) ($wst/2+$wss/2, $Laxials+5mm) ($wst/2+$wss/2-$bs0/2, $Laxials+5mm) ($wst/2+$wss/2-$bs0/2, $Laxials-$hs0) ($wst/2, $Laxials-$hs1) ($wst/2, $Laxials/2), closed, covered)
  Polyline1_1 = Polyline1.duplicate_mirror(point=($wst/2+$wss/2, 0mm, 0mm), normal=(1mm, 0mm, 0mm))
  Polyline1.unite(Polyline1_1)
  Polyline1_2 = Polyline1.duplicate_mirror(point=(0mm, $Laxials/2, 0mm), normal=(0mm, 1mm, 0mm))
  Polyline1.unite(Polyline1_2)
  Polyline1.duplicate_along_line(step=($wst+$wss, 0mm, 0mm), total=12, attached)
  Stator.subtract(Polyline1)
  scain_1 [copper] = rectangle(corner=($wst/2+$paperT, $hs1+$paperT, 0mm), x_size=$wc, y_size=$dc)
  Scaout_2 [copper] = scain_1.duplicate_mirror(point=($wst/2+$wss/2, 0mm, 0mm), normal=(1mm, 0mm, 0mm))
  Scaout_3..Scaout_12, Scaout_1 [copper] = Scaout_2.duplicate_along_line(step=($wss+$wst, 0mm, 0mm), total=12)
  Scain_2..Scain_12 [copper] = scain_1.duplicate_along_line(step=($wss+$wst, 0mm, 0mm), total=12)
  coordinate_system NorthCS = origin=(0mm, 0mm, 0mm) x=(0mm, 90mm, 0mm) y=(-90mm, 0mm, 0mm)
  Magnet_1 [NdFe35, oriented by NorthCS] = rectangle(corner=($bm0/2, $Laxials+$g, 0mm), x_size=$wm, y_size=$dm)
  Magnet_2 [NdFe35, oriented by SouthCS], Magnet_3 [NdFe35, oriented by NorthCS], Magnet_4 [NdFe35, oriented by SouthCS], Magnet_5 [NdFe35, oriented by NorthCS], Magnet_6 [NdFe35, oriented by SouthCS], Magnet_7 [NdFe35, oriented by NorthCS], Magnet_8 [NdFe35, oriented by SouthCS], Magnet_9 [NdFe35, oriented by NorthCS], Magnet_10 [NdFe35, oriented by SouthCS] = Magnet_1.duplicate_along_line(step=($bm0+$wm, 0mm, 0mm), total=10)
  coordinate_system SouthCS = origin=(0mm, 0mm, 0mm) x=(0mm, -20mm, 0mm) y=(20mm, 0mm, 0mm)
  Rotor1 [Hoganas - Somaloy 130-1P] = rectangle(corner=(0mm, $Laxials+$dm-$dm0, 0mm), x_size=pi*$D, y_size=$dm0+$dry)
  Magnet_1_10 = Magnet_1.copy()
  Magnet_1_1_1 = Magnet_2.copy()
  Magnet_1_2_1 = Magnet_3.copy()
  Magnet_1_3_1 = Magnet_4.copy()
  Magnet_1_4_1 = Magnet_5.copy()
  Magnet_1_5_1 = Magnet_6.copy()
  Magnet_1_6_1 = Magnet_7.copy()
  Magnet_1_7_1 = Magnet_8.copy()
  Magnet_1_8_1 = Magnet_9.copy()
  Magnet_1_9_1 = Magnet_10.copy()
  Rotor1.subtract(Magnet_1_10, Magnet_1_1_1, Magnet_1_2_1, Magnet_1_3_1, Magnet_1_4_1, Magnet_1_5_1, Magnet_1_6_1, Magnet_1_7_1, Magnet_1_8_1, Magnet_1_9_1)
  Magnet_1_1 [NdFe35, oriented by NorthCS] = Magnet_1.duplicate_mirror(point=(0mm, $Laxials/2, 0mm), normal=(0mm, -1mm, 0mm))
  Magnet_2_1 [NdFe35, oriented by SouthCS] = Magnet_2.duplicate_mirror(point=(0mm, $Laxials/2, 0mm), normal=(0mm, -1mm, 0mm))
  Magnet_3_1 [NdFe35, oriented by NorthCS] = Magnet_3.duplicate_mirror(point=(0mm, $Laxials/2, 0mm), normal=(0mm, -1mm, 0mm))
  Magnet_4_1 [NdFe35, oriented by SouthCS] = Magnet_4.duplicate_mirror(point=(0mm, $Laxials/2, 0mm), normal=(0mm, -1mm, 0mm))
  Magnet_5_1 [NdFe35, oriented by NorthCS] = Magnet_5.duplicate_mirror(point=(0mm, $Laxials/2, 0mm), normal=(0mm, -1mm, 0mm))
  Magnet_6_1 [NdFe35, oriented by SouthCS] = Magnet_6.duplicate_mirror(point=(0mm, $Laxials/2, 0mm), normal=(0mm, -1mm, 0mm))
  Magnet_7_1 [NdFe35, oriented by NorthCS] = Magnet_7.duplicate_mirror(point=(0mm, $Laxials/2, 0mm), normal=(0mm, -1mm, 0mm))
  Magnet_8_1 [NdFe35, oriented by SouthCS] = Magnet_8.duplicate_mirror(point=(0mm, $Laxials/2, 0mm), normal=(0mm, -1mm, 0mm))
  Magnet_9_1 [NdFe35, oriented by NorthCS] = Magnet_9.duplicate_mirror(point=(0mm, $Laxials/2, 0mm), normal=(0mm, -1mm, 0mm))
  Magnet_10_1 [NdFe35, oriented by SouthCS] = Magnet_10.duplicate_mirror(point=(0mm, $Laxials/2, 0mm), normal=(0mm, -1mm, 0mm))
  Rotor2 [Hoganas - Somaloy 130-1P] = Rotor1.duplicate_mirror(point=(0mm, $Laxials/2, 0mm), normal=(0mm, -1mm, 0mm))
  Enclosure [vacuum] = rectangle(corner=(0mm, -15mm, 0mm), x_size=pi*$D, y_size=$L_axial+20mm)
  MotionBand1 [vacuum] = rectangle(corner=(0mm, $Laxials+$g/2, 0mm), x_size=pi*$D, y_size=$g+$dm+$dry+5mm)
  MotionBand2 [vacuum] = MotionBand1.duplicate_mirror(point=(0mm, $Laxials, 0mm), normal=(0mm, 1mm, 0mm))
  MotionBand2.move(0mm, (-22.7+7.4-2.4) mm, 0mm)
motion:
  MotionSetup1: Band Move_Type=Translate Coordinate_System=Global PostProcessing_Coordinate_System=Global Axis=X Is_Positive=true InitPos=0mm TranslatePeriodic Velocity=LinearSpeed Objects=MotionBand1
  Moving1: Moving Objects=[Magnet_1..Magnet_10, Rotor1]
  MotionSetup2: Band Move_Type=Translate Coordinate_System=Global PostProcessing_Coordinate_System=Global Axis=X Is_Positive=true InitPos=0mm TranslatePeriodic Velocity=LinearSpeed Objects=MotionBand2
  Moving2: Moving Objects=[Magnet_1_1, Magnet_2_1, Magnet_3_1, Magnet_4_1, Magnet_5_1, Magnet_6_1, Magnet_7_1, Magnet_8_1, Magnet_9_1, Magnet_10_1, Rotor2]
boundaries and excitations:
  VectorPotential1: Vector Potential Edges=Enclosure.edge(at (94.2478, -15, 0), at (94.2478, 39.7, 0)) Value=0
  Independent1: Independent Edges=Enclosure.edge(at (0, 12.35, 0)) ReverseV
  Dependent1: Dependent Edges=Enclosure.edge(at (188.496, 12.35, 0)) Independent=Independent1 SameAsMaster=true
  Scain_1: Coil Objects=scain_1 Conductor_number=$ntc Winding=PhaseA PolarityType=Positive
  Scaout_2: Coil Objects=Scaout_2 Conductor_number=$ntc Winding=PhaseA PolarityType=Positive
  Scain_2: Coil Objects=Scain_2 Conductor_number=$ntc Winding=PhaseA PolarityType=Negative
  Scaout_3: Coil Objects=Scaout_3 Conductor_number=$ntc Winding=PhaseB PolarityType=Positive
  Scain_3: Coil Objects=Scain_3 Conductor_number=$ntc Winding=PhaseB PolarityType=Negative
  Scaout_4: Coil Objects=Scaout_4 Conductor_number=$ntc Winding=PhaseB PolarityType=Negative
  Scain_4: Coil Objects=Scain_4 Conductor_number=$ntc Winding=PhaseB PolarityType=Positive
  Scaout_5: Coil Objects=Scaout_5 Conductor_number=$ntc Winding=PhaseC PolarityType=Negative
  Scain_5: Coil Objects=Scain_5 Conductor_number=$ntc Winding=PhaseC PolarityType=Positive
  Scaout_6: Coil Objects=Scaout_6 Conductor_number=$ntc Winding=PhaseC PolarityType=Positive
  Scain_6: Coil Objects=Scain_6 Conductor_number=$ntc Winding=PhaseC PolarityType=Negative
  Scaout_7: Coil Objects=Scaout_7 Conductor_number=$ntc Winding=PhaseA PolarityType=Positive
  Scain_7: Coil Objects=Scain_7 Conductor_number=$ntc Winding=PhaseA PolarityType=Negative
  Scaout_8: Coil Objects=Scaout_8 Conductor_number=$ntc Winding=PhaseA PolarityType=Negative
  Scain_8: Coil Objects=Scain_8 Conductor_number=$ntc Winding=PhaseA PolarityType=Positive
  Scaout_9: Coil Objects=Scaout_9 Conductor_number=$ntc Winding=PhaseB PolarityType=Negative
  Scain_9: Coil Objects=Scain_9 Conductor_number=$ntc Winding=PhaseB PolarityType=Positive
  Scaout_10: Coil Objects=Scaout_10 Conductor_number=$ntc Winding=PhaseB PolarityType=Positive
  Scain_10: Coil Objects=Scain_10 Conductor_number=$ntc Winding=PhaseB PolarityType=Negative
  Scaout_11: Coil Objects=Scaout_11 Conductor_number=$ntc Winding=PhaseC PolarityType=Positive
  Scain_11: Coil Objects=Scain_11 Conductor_number=$ntc Winding=PhaseC PolarityType=Negative
  Scaout_12: Coil Objects=Scaout_12 Conductor_number=$ntc Winding=PhaseC PolarityType=Negative
  Scain_12: Coil Objects=Scain_12 Conductor_number=$ntc Winding=PhaseC PolarityType=Positive
  Scaout_1: Coil Objects=Scaout_1 Conductor_number=$ntc Winding=PhaseA PolarityType=Negative
  PhaseA: Winding Group Type=Current IsSolid=false Current=ia_srf ParallelBranchesNum=1
  PhaseB: Winding Group Type=Current IsSolid=false Current=ib_srf ParallelBranchesNum=1
  PhaseC: Winding Group Type=Current IsSolid=false Current=ic_srf ParallelBranchesNum=1
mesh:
  Length1: LengthBased RefineInside Objects=[Stator, scain_1, Scaout_2..Scaout_12, Scaout_1, Scain_2..Scain_12, Magnet_1..Magnet_10, Rotor1, Magnet_1_1, Magnet_2_1, Magnet_3_1, Magnet_4_1, Magnet_5_1, Magnet_6_1, Magnet_7_1, Magnet_8_1, Magnet_9_1, Magnet_10_1, Rotor2, Enclosure] MaxLength=3mm
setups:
  Setup1: Transient NonlinearSolverResidual=0.0001 StopTime=500ms TimeStep=8ms/50 InitialTimeStep=0.002s MinTimeStep=0.001s MaxTimeStep=0.003s TimeStepErrTolerance=0.0001
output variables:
  Te = ($D/2)*Moving1.Force_x
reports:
  Winding Plot 1: FluxLinkage(PhaseA), FluxLinkage(PhaseB), FluxLinkage(PhaseC) vs Time on Setup1 : Transient
  Winding Plot 2: InducedVoltage(PhaseA), InducedVoltage(PhaseB), InducedVoltage(PhaseC) vs Time on Setup1 : Transient
  Output Variables Plot 1: Te vs Time on Setup1 : Transient
  Winding Plot 3: FluxLinkage(PhaseA) vs Time*2*pi*50*180/pi on Setup1 : Transient

design IcepakDesign1 (Icepak, Transient TemperatureAndFlow, model units mm)
options: Default_Fluid_Material=air Default_Solid_Material=Al-Extruded Default_Surface_Material=Steel-oxidised-surface AmbientTemperature=37cel AmbientPressure=0n_per_meter_sq AmbientRadiationTemperature=20cel Gravity_Vector_CS_ID=Global Gravity_Vector_Axis=Z Positive=false SherlockExportDirectory="J:/Axial Flux Motor Final.aedtexport/IcepakDesign1/" Altitude=0meter
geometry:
  Region [air] = region(percentage_offset: +X=50, -X=50, +Y=50, -Y=50, +Z=250, -Z=100)
  Coil_1 [copper] = rectangle(corner=(0mm, 0mm, 0mm), x_size=$OSD, y_size=$wc+$bw0/2)
  Circle6 = circle(normal=Z, centre=(0mm, 0mm, 0mm), radius=$OSD/2+$paperT+$wc)
  Coil_1.intersect(Circle6)
  Circle5 = circle(normal=Z, centre=(0mm, 0mm, 0mm), radius=$ISD/2-$paperT-$wc)
  Coil_1.subtract(Circle5)
  Polyline2 = polyline(z=0mm, xy: (0mm, 0mm) ($OSD, 0mm) (79.315589mm, 10.442095mm) (77.274066mm, 20.705524mm) (0mm, 0mm), closed, covered, AngularArc from point 1 over 3 centre=(0mm, 0mm, 0mm) angle=$alpha_s/2 plane=XY)
  Polyline2_1 = Polyline2.duplicate_mirror(point=(0mm, 0mm, 0mm), normal=(0mm, 1mm, 0mm))
  Circle1 = circle(normal=Z, centre=(0mm, 0mm, 0mm), radius=$OSD/2+$paperT+$wc)
  Circle2 = circle(normal=Z, centre=(0mm, 0mm, 0mm), radius=$OSD/2+$paperT)
  Circle1.subtract(Circle2)
  Polyline2.intersect(Circle1)
  Circle3 = circle(normal=Z, centre=(0mm, 0mm, 0mm), radius=$ISD/2-$paperT)
  Circle4 = circle(normal=Z, centre=(0mm, 0mm, 0mm), radius=$ISD/2-$paperT-$wc)
  Circle3.subtract(Circle4)
  Polyline2_1.mirror(point=(0mm, 0mm, 0mm), normal=(0mm, 1mm, 0mm))
  Circle3.intersect(Polyline2_1)
  Coil_1.unite(Polyline2, Circle3)
  Rectangle2 = rectangle(corner=(0mm, -$bw0/2, 0mm), x_size=$OSD, y_size=$bw0)
  Coil_1.subtract(Rectangle2)
  Coil_1.move(0mm, 0mm, $hs1+$paperT)
  Coil_1.sweep_along_vector((0mm, 0mm, $dc))
  Coil_1.fillet(Edges=Coil_1.edge(#87, #86) Radius=$wc/2 Setback=0mm)
  Rectangle1_1 = Coil_1.duplicate_mirror(point=(0mm, 0mm, 0mm), normal=(-sin($alpha_s/2), cos($alpha_s/2), 0mm))
  Coil_1.unite(Rectangle1_1)
  Coil_2..Coil_12 [copper] = Coil_1.duplicate_around_axis(axis=Z, angle=360deg/12, total=12)
  coordinate_system RelativeCS2 = origin=(0mm, 0mm, 0mm) x=(cos($alpha_s/2), sin($alpha_s/2), 0mm) y=(-sin($alpha_s/2), cos($alpha_s/2), 0mm)
  CoilInput_1 [copper] = Coil_1.section(plane=ZX) in RelativeCS2
  coordinate_system RelativeCS1 = origin=(0mm, 0mm, $Laxials+$g) x=(1mm, 0mm, 0mm) y=(0mm, 1mm, 0mm)
  coordinate_system North_CS = origin=(0mm, 0mm, 0mm) x=(0mm, 0mm, 1mm) y=(0mm, 1mm, 0mm)
  Magnet_1 [NdFe35, oriented by North_CS] = polyline(z=0mm, xy: (0mm, 0mm) ($OSD/2, 0mm) (38.042261mm, 12.36068mm) (32.36068mm, 23.51141mm) (0mm, 0mm), closed, covered, AngularArc from point 1 over 3 centre=(0mm, 0mm, 0mm) angle=$alpha_p plane=XY) in RelativeCS1
  Circle7 = circle(normal=Z, centre=(0mm, 0mm, 0mm), radius=$ISD/2) in RelativeCS1
  Magnet_1.subtract(Circle7)
  Rectangle3 = rectangle(corner=(0mm, -$bm0/2, 0mm), x_size=$OSD, y_size=$bm0) in RelativeCS1
  Rectangle3.duplicate_around_axis(axis=Z, angle=$alpha_p, total=2, attached) in RelativeCS1
  Magnet_1.subtract(Rectangle3)
  Magnet_1.sweep_along_vector((0mm, 0mm, $dm)) in RelativeCS1
  Magnet_2 [NdFe35, oriented by South_CS], Magnet_3 [NdFe35, oriented by North_CS], Magnet_4 [NdFe35, oriented by South_CS], Magnet_5 [NdFe35, oriented by North_CS], Magnet_6 [NdFe35, oriented by South_CS], Magnet_7 [NdFe35, oriented by North_CS], Magnet_8 [NdFe35, oriented by South_CS], Magnet_9 [NdFe35, oriented by North_CS], Magnet_10 [NdFe35, oriented by South_CS] = Magnet_1.duplicate_around_axis(axis=Z, angle=$alpha_p, total=10) in RelativeCS1
  Magnet_1_1 [NdFe35, oriented by North_CS] = Magnet_1.duplicate_mirror(point=(0mm, 0mm, $Laxials/2), normal=(0mm, 0mm, 1mm))
  Magnet_1_2 = Magnet_1.copy()
  coordinate_system South_CS = origin=(0mm, 0mm, 0mm) x=(0mm, 0mm, -1mm) y=(0mm, 1mm, 0mm)
  Magnet_2_1 [NdFe35, oriented by South_CS] = Magnet_2.duplicate_mirror(point=(0mm, 0mm, $Laxials/2), normal=(0mm, 0mm, 1mm))
  Magnet_2_2 = Magnet_2.copy()
  Magnet_3_1 [NdFe35, oriented by North_CS] = Magnet_3.duplicate_mirror(point=(0mm, 0mm, $Laxials/2), normal=(0mm, 0mm, 1mm))
  Magnet_3_2 = Magnet_3.copy()
  Magnet_4_1 [NdFe35, oriented by South_CS] = Magnet_4.duplicate_mirror(point=(0mm, 0mm, $Laxials/2), normal=(0mm, 0mm, 1mm))
  Magnet_4_2 = Magnet_4.copy()
  Magnet_5_1 [NdFe35, oriented by North_CS] = Magnet_5.duplicate_mirror(point=(0mm, 0mm, $Laxials/2), normal=(0mm, 0mm, 1mm))
  Magnet_5_2 = Magnet_5.copy()
  Magnet_6_1 [NdFe35, oriented by South_CS] = Magnet_6.duplicate_mirror(point=(0mm, 0mm, $Laxials/2), normal=(0mm, 0mm, 1mm))
  Magnet_6_2 = Magnet_6.copy()
  Magnet_7_1 [NdFe35, oriented by North_CS] = Magnet_7.duplicate_mirror(point=(0mm, 0mm, $Laxials/2), normal=(0mm, 0mm, 1mm))
  Magnet_7_2 = Magnet_7.copy()
  Magnet_8_1 [NdFe35, oriented by South_CS] = Magnet_8.duplicate_mirror(point=(0mm, 0mm, $Laxials/2), normal=(0mm, 0mm, 1mm))
  Magnet_8_2 = Magnet_8.copy()
  Magnet_9_1 [NdFe35, oriented by North_CS] = Magnet_9.duplicate_mirror(point=(0mm, 0mm, $Laxials/2), normal=(0mm, 0mm, 1mm))
  Magnet_9_2 = Magnet_9.copy()
  Magnet_10_1 [NdFe35, oriented by South_CS] = Magnet_10.duplicate_mirror(point=(0mm, 0mm, $Laxials/2), normal=(0mm, 0mm, 1mm))
  Magnet_10_2 = Magnet_10.copy()
  Rotor [Hoganas - Somaloy 130-1P] = circle(normal=Z, centre=(0mm, 0mm, $dm-$dm0), radius=$ORD/2) in RelativeCS1
  Circle8 = circle(normal=Z, centre=(0mm, 0mm, $dm-$dm0), radius=$IRD/2) in RelativeCS1
  Rotor.subtract(Circle8)
  Rotor.sweep_along_vector((0mm, 0mm, $dm0+$dry)) in RelativeCS1
  Rotor_1 [Hoganas - Somaloy 130-1P] = Rotor.duplicate_mirror(point=(0mm, 0mm, $Laxials/2), normal=(0mm, 0mm, 1mm))
  Rotor.subtract(Magnet_1_2, Magnet_10_2, Magnet_2_2, Magnet_3_2, Magnet_4_2, Magnet_5_2, Magnet_6_2, Magnet_7_2, Magnet_8_2, Magnet_9_2)
  Magnet_1_1_1 = Magnet_1_1.copy()
  Magnet_2_1_1 = Magnet_2_1.copy()
  Magnet_3_1_1 = Magnet_3_1.copy()
  Magnet_4_1_1 = Magnet_4_1.copy()
  Magnet_5_1_1 = Magnet_5_1.copy()
  Magnet_6_1_1 = Magnet_6_1.copy()
  Magnet_7_1_1 = Magnet_7_1.copy()
  Magnet_8_1_1 = Magnet_8_1.copy()
  Magnet_9_1_1 = Magnet_9_1.copy()
  Magnet_10_1_1 = Magnet_10_1.copy()
  Rotor_1.subtract(Magnet_1_1_1, Magnet_10_1_1, Magnet_2_1_1, Magnet_3_1_1, Magnet_4_1_1, Magnet_5_1_1, Magnet_6_1_1, Magnet_7_1_1, Magnet_8_1_1, Magnet_9_1_1)
  AG_Surface = circle(normal=Z, centre=(0mm, 0mm, -$g/2), radius=$OSD/2) in RelativeCS1
  Circle9 = circle(normal=Z, centre=(0mm, 0mm, -$g/2), radius=$ISD/2) in RelativeCS1
  AG_Surface.subtract(Circle9)
  AG_Surface_1 = AG_Surface.duplicate_mirror(point=(0mm, 0mm, $Laxials/2), normal=(0mm, 0mm, 1mm))
  CCS_Surface [vacuum, non-model] = circle(normal=Z, centre=(0mm, 0mm, -10mm), radius=$D/2)
  CCS_Surface.sweep_along_vector((0mm, 0mm, $L_axial+5mm))
  Polyline_Bav = circle(normal=Z, centre=(0mm, 0mm, -$g/2), radius=$D/2) in RelativeCS1
  Polyline_Bry [non-model] = circle(normal=Z, centre=(0mm, 0mm, $dm+$dry/2), radius=$D/2) in RelativeCS1
  Polyline_Bst = polyline(($D/2, 0mm, $hs1) ($D/2, 0mm, $Laxials-$hs1))
  Polyline_Bst.rotate(axis=Z, angle=180deg/12)
  Polyline_Bst_1..Polyline_Bst_11 = Polyline_Bst.duplicate_around_axis(axis=Z, angle=360deg/12, total=12)
  CoilInput_1.separate_bodies()
  CoilInput_2..CoilInput_12 [copper] = CoilInput_1.duplicate_around_axis(axis=Z, angle=360deg/12, total=12)
  MotionBand1 [vacuum] = cylinder(axis=Z, base_centre=(0mm, 0mm, -$g/2), radius=$OSD/2 + 10mm, height=$g+$dm+$dry+5mm) in RelativeCS1
  MotionBand1_1 [vacuum] = MotionBand1.duplicate_mirror(point=(0mm, 0mm, $Laxials/2), normal=(0mm, 0mm, -1mm))
  Stator [Hoganas - Somaloy 130-1P] = cylinder(axis=Z, base_centre=(0mm, 0mm, 0mm), radius=$OSD/2, height=$dss+2*$hs1) in RelativeCS1
  Cylinder2 = cylinder(axis=Z, base_centre=(0mm, 0mm, -10mm), radius=$ISD/2, height=$dss+2*$hs1+20mm) in RelativeCS1
  Stator.subtract(Cylinder2)
  Polyline3 = polyline(x=0mm, yz: (0mm, $hs1+$dss/2) ($wss/2, $hs1+$dss/2) ($wss/2, $hs1+$dss) ($bs0/2, $hs1+$dss+$hs1-$hs0) ($bs0/2, 2*$hs1+$dss + 10mm) (0mm, 2*$hs1+$dss + 10mm) (0mm, $hs1+$dss/2), closed, covered) in RelativeCS1
  Polyline3_1 = Polyline3.duplicate_mirror(point=(0mm, 0mm, 0mm), normal=(0mm, 1mm, 0mm)) in RelativeCS1
  Polyline3.unite(Polyline3_1)
  Polyline3_2 = Polyline3.duplicate_mirror(point=(0mm, -3.05mm, 8.85mm), normal=(0mm, 0mm, 1mm)) in RelativeCS1
  Polyline3.unite(Polyline3_2)
  Polyline3.sweep_along_vector((50mm, 0mm, 0mm)) in RelativeCS1
  Polyline3.duplicate_around_axis(axis=Z, angle=360deg/12, total=12, attached) in RelativeCS1
  Stator.subtract(Polyline3)
  Stator.move(0mm, 0mm, -($Laxials+$g)) in RelativeCS1
  group Polyline_Bst_Group = Polyline_Bst, Polyline_Bst_1..Polyline_Bst_11
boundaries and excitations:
  Opening1: Opening Faces=Region.face(all 6) Temperature=AmbientTemp External_Rad._Temperature=AmbientRadTemp Inlet_Type=Pressure Total_Pressure=AmbientPressure
  EMLoss1: EM Loss Objects=[Coil_1..Coil_12, Rotor, Rotor_1, Stator] LinkID=12 Project="This Project*" Product=ElectronicsDesktop Design=Magnetic-Loading-2D Params{$ISD=40mm $Iph_rms=1.04A $Laxials=17.7mm $Ns=12 $Nstrands=1 $Ntc=250 $OSD=80mm $PaddingSize=30 $bm0=1mm $bs0=0.5mm $bw0=0.2mm $dm=5mm $dm0=1mm $dry=3mm $g=0.5mm $hs0=0.5mm $p=10 $paperT=0.13mm $t=1mm $tta=20deg $wireDiameter=0.4mm $wss=6.1mm} PathRelativeTo=TargetProject LossMultiplier=1
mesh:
  Global:  MeshMethod=MesherHD ComputeGap MeshRegionResolution=3 MinGapX=1mm MinGapY=1mm MinGapZ=1mm Objects=Region FacetLevel=3 ProximitySizeFunction CurvatureSizeFunction OptimizePCBMesh
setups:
  Setup1: IcepakTransient Flow_Regime=Laminar Include_Temperature=true Include_Flow=true Include_Gravity Solution_Initialization_-_Z_Velocity=0.0001m_per_sec Convergence_Criteria_-_Flow=0.001 Convergence_Criteria_-_Energy=1e-07 Convergence_Criteria_-_Discrete_Ordinates=1e-06 GPU_Convergence_Criteria_-_Flow=0.001 GPU_Convergence_Criteria_-_Energy=1e-05 GPU_Convergence_Criteria_-_Discrete_Ordinates=1e-05 disabled Radiation_Model="Discrete Ordinates Model" Flow_Iteration_Per_Radiation_Iteration=1 Time_Step_Interval=1 ThetaDivision=1 PhiDivision=1 ThetaPixels=1 PhiPixels=1 Under-relaxation_-_Pressure=0.3 Under-relaxation_-_Momentum=0.7 Under-relaxation_-_Temperature=1 Discretization_Scheme_-_Pressure=Standard Discretization_Scheme_-_Momentum=First Discretization_Scheme_-_Temperature=First Discretization_Scheme_-_Discrete_Ordinates=First Start_Time=0s Stop_Time=20s Time_Step=1s Iterations_per_Time_Step=20 SaveFieldsType="Every N Steps" N_Steps=10s
